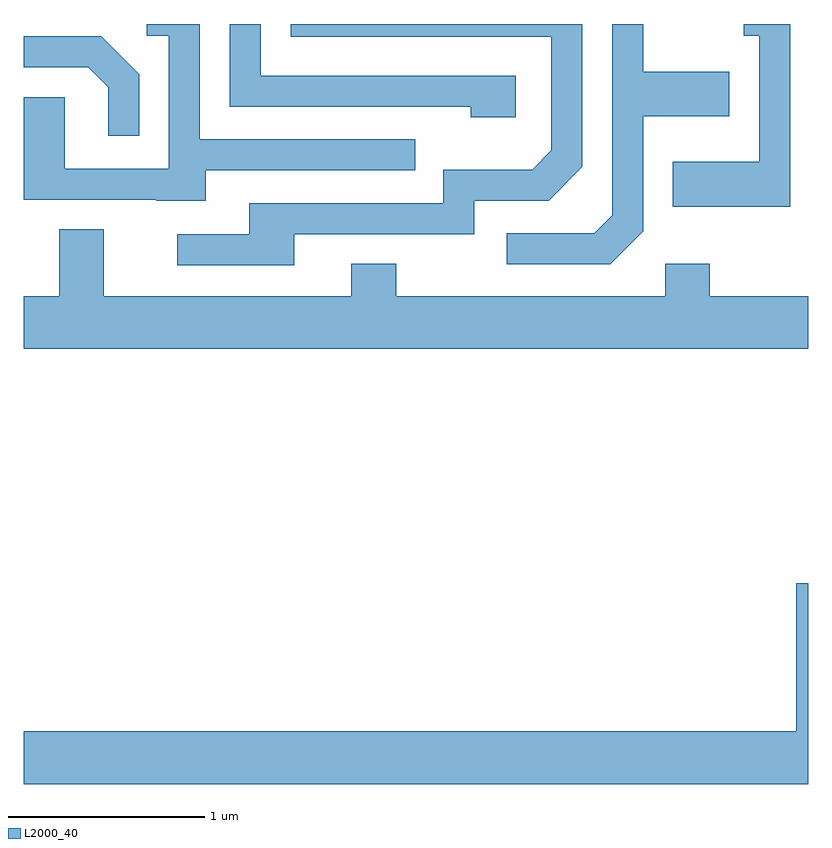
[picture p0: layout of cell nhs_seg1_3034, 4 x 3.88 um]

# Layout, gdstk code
import gdstk
lib = gdstk.Library(unit=1e-6, precision=1e-09)
def P(c, l, *ps):  # polygons
    for p in ps: c.add(gdstk.Polygon(p, *l))
L2000_40 = (2000, 40)

nhs_seg1_3034 = lib.new_cell('nhs_seg1_3034')
P(nhs_seg1_3034, L2000_40, [(280.769,864.654),(280.769,865.241),(281.209,865.241),(281.209,865.469),(280.769,865.469),(280.769,865.712),(280.611,865.712),(280.611,864.737),(280.519,864.644),(280.073,864.644),(280.073,864.486),(280.602,864.486)],
  [(278.539,864.966),(279.608,864.966),(279.608,865.124),(278.509,865.124),(278.509,865.712),(278.238,865.712),(278.238,865.651),(278.351,865.651),(278.351,864.974),(277.819,864.974),(277.819,865.339),(277.611,865.339),(277.611,864.816),(278.285,864.816),(278.285,864.811),(278.539,864.811)],
  [(281.519,865.712),(281.283,865.712),(281.283,865.651),(281.361,865.651),(281.361,865.009),(280.921,865.009),(280.921,864.781),(281.519,864.781)],
  [(278.989,864.641),(279.909,864.641),(279.909,864.811),(280.287,864.811),(280.459,864.984),(280.459,865.712),(278.971,865.712),(278.971,865.646),(280.301,865.646),(280.301,865.067),(280.204,864.969),(279.751,864.969),(279.751,864.799),(278.761,864.799),(278.761,864.639),(278.393,864.639),(278.393,864.481),(278.989,864.481)],
  [(280.119,865.449),(278.819,865.449),(278.819,865.712),(278.661,865.712),(278.661,865.291),(279.891,865.291),(279.891,865.236),(280.119,865.236)],
  [(278.199,865.457),(278.007,865.649),(277.611,865.649),(277.611,865.491),(277.939,865.491),(278.041,865.389),(278.041,865.143),(278.199,865.143)],
  [(281.611,864.324),(281.109,864.324),(281.109,864.489),(280.881,864.489),(280.881,864.324),(279.509,864.324),(279.509,864.489),(279.281,864.489),(279.281,864.324),(278.019,864.324),(278.019,864.664),(277.791,864.664),(277.791,864.324),(277.611,864.324),(277.611,864.056),(281.611,864.056)],
  [(281.611,862.859),(281.551,862.859),(281.551,862.104),(277.611,862.104),(277.611,861.836),(281.611,861.836)])

lib.write_gds('nhs_seg1_3034.gds')
